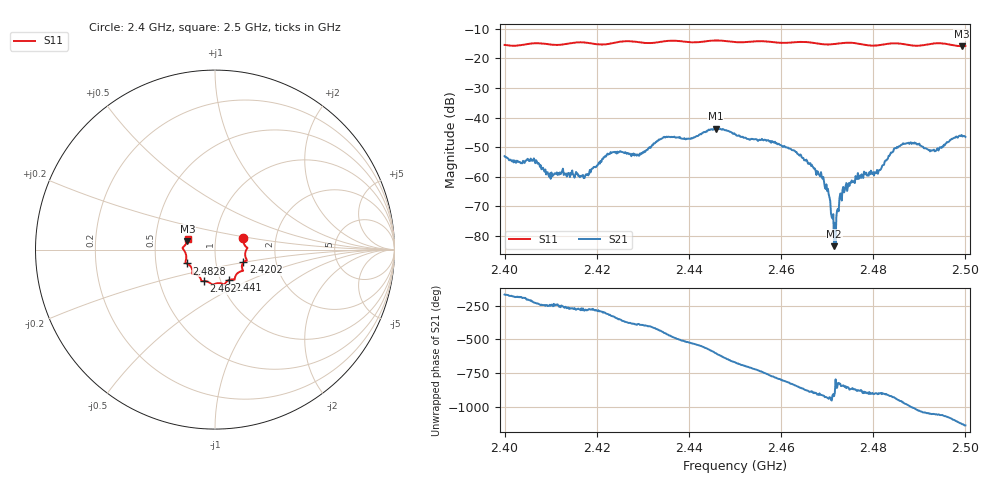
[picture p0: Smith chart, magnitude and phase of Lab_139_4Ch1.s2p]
# Hz S RI R 50
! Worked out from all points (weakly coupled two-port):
!   601 points, 2.4 GHz to 2.5 GHz, reference 50 ohm
!   highest |S21| = -43.72 dB at 2.4458 GHz (marker M1); lowest = -83.5 dB at 2.4715 GHz (marker M2)
!   lowest |S11| = -15.8 dB at 2.4992 GHz (marker M3), VSWR 1.39, Z = 36.5 + j3.66 ohm
!   |S11| at or under -10 dB: start of sweep to end of sweep
!   S12 and S22 are empty: the file has one direction only
!   S11 on the Smith chart (normalised r, x): 2.4 GHz: 1.36, +0.18; 2.4202 GHz: 1.36, -0.20; 2.441 GHz: 1.10, -0.39; 2.462 GHz: 0.84, -0.30; 2.4828 GHz: 0.72, -0.11; 2.5 GHz: 0.73, +0.09
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2.4e9  0.1574 0.0629  -0.00216 -0.000481  0 0  0 0
2.4065e9  0.1804 0.011  -0.0013 0.00139  0 0  0 0
2.41e9  0.172 -0.00581  -0.000304 0.000866  0 0  0 0
2.416667e9  0.1777 -0.06  -1.47e-05 0.00104  0 0  0 0
2.420167e9  0.1584 -0.0708  0.000533 0.00145  0 0  0 0
2.422833e9  0.1498 -0.0957  0.00176 0.00165  0 0  0 0
2.429167e9  0.144 -0.1208  0.00203 -0.000971  0 0  0 0
2.433333e9  0.1123 -0.151  0.00154 -0.00377  0 0  0 0
2.441e9  0.0786 -0.1697  -0.00456 -0.000678  0 0  0 0
2.445833e9  0.0511 -0.195  -0.0031 0.00573  0 0  0 0
2.45e9  0.0285 -0.1871  0.00329 0.00406  0 0  0 0
2.462e9  -0.0604 -0.1754  -0.000878 -0.00283  0 0  0 0
2.466667e9  -0.0778 -0.1681  -0.00152 -0.000468  0 0  0 0
2.469667e9  -0.0923 -0.146  -0.000555 0.000266  0 0  0 0
2.4715e9  -0.1092 -0.1368  -6.26e-05 2.24e-05  0 0  0 0
2.473833e9  -0.1242 -0.1352  -0.000405 -0.000437  0 0  0 0
2.482833e9  -0.1576 -0.0774  -0.00187 0.000123  0 0  0 0
2.483333e9  -0.1607 -0.076  -0.00219 0.000525  0 0  0 0
2.486667e9  -0.1626 -0.063  -0.00114 0.00339  0 0  0 0
2.493167e9  -0.1792 0.00486  0.00253 0.00133  0 0  0 0
2.499167e9  -0.154 0.0488  0.00365 -0.00352  0 0  0 0
2.5e9  -0.1517 0.0609  0.0026 -0.00391  0 0  0 0
